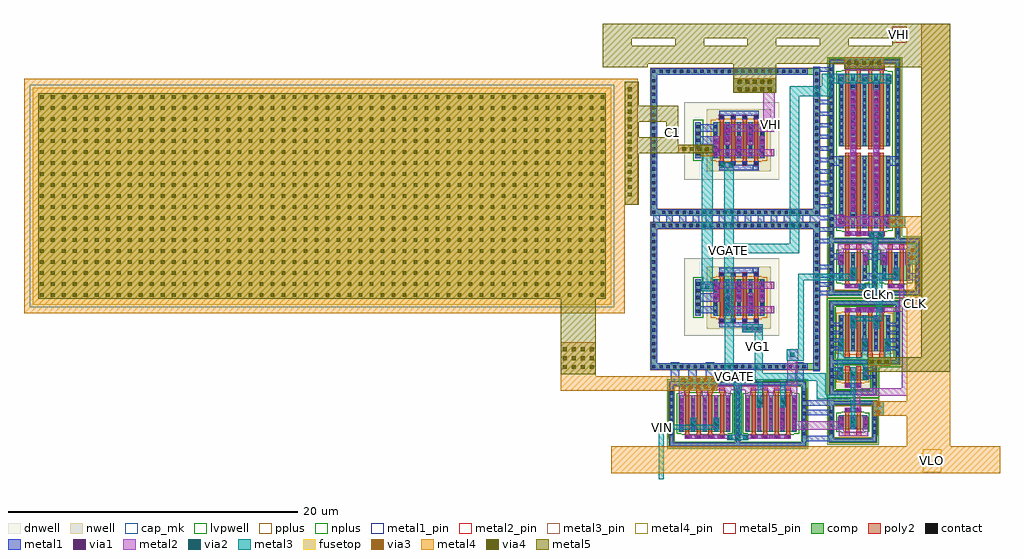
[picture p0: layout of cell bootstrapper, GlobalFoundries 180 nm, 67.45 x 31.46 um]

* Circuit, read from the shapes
.subckt bootstrapper C1 CLK CLKn VG1 VGATE VHI VIN VLO
XM1 VIN VGATE n1 VLO nfet_03v3 w=2.5u l=0.28u m=4
XM2 VG1 VGATE n1 VLO nfet_03v3 w=2.5u l=0.28u m=4
XM3 VG1 CLK n1 VLO nfet_03v3 w=1u l=0.28u m=2
XM4 n1 CLKn VLO VLO nfet_03v3 w=2u l=0.28u m=2
XM5 n2 CLKn VLO VLO nfet_03v3 w=5u l=0.28u m=2
XM6 n2 VHI VGATE VLO nfet_03v3 w=5u l=0.28u m=2
XM7 n3 CLKn VLO VLO nfet_03v3 w=5u l=0.28u m=2
XM8 n3 VHI VGATE VLO nfet_03v3 w=5u l=0.28u m=2
XM9 CLKn CLK VLO VLO nfet_03v3 w=2u l=0.28u m=2
XM10 VGATE VG1 C1 n4 pfet_03v3 w=2.5u l=0.28u m=4
XM11 VHI VGATE C1 n5 pfet_03v3 w=2.5u l=0.28u m=4
XM12 VG1 CLK VHI VHI pfet_03v3 w=0.5u l=0.28u m=2
XM13 CLKn CLK VHI VHI pfet_03v3 w=2.5u l=0.28u m=4
XC14 n1 C1 cap_mim_2f0fF c_width=40u c_length=15u
.ends

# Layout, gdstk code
import gdstk
lib = gdstk.Library(unit=1e-6, precision=1e-09)
def R(c, l, rs):  # rectangles x0, y0, x1, y1
    for r in rs: c.add(gdstk.rectangle(r[:2], r[2:], *l))
def A(c, l, x, y, w, h, nx, ny, dx, dy):  # array of equal rectangles
    R(c, l, [(x+i*dx, y+j*dy, x+i*dx+w, y+j*dy+h) for i in range(nx) for j in range(ny)])
dnwell = (12, 0)
nwell = (21, 0)
comp = (22, 0)
poly2 = (30, 0)
pplus = (31, 0)
nplus = (32, 0)
contact = (33, 0)
metal1 = (34, 0)
metal1_pin = (34, 10)
via1 = (35, 0)
metal2 = (36, 0)
metal2_pin = (36, 10)
via2 = (38, 0)
via3 = (40, 0)
via4 = (41, 0)
metal3 = (42, 0)
metal3_pin = (42, 10)
metal4 = (46, 0)
metal4_pin = (46, 10)
fusetop = (75, 0)
metal5 = (81, 0)
metal5_pin = (81, 10)
cap_mk = (117, 5)
lvpwell = (204, 0)

dnw_pfet = lib.new_cell('dnw_pfet')
R(dnw_pfet, dnwell, [(45.665,3.755,52.255,9.12)])
R(dnw_pfet, nwell, [(47.25,4.255,51.67,8.535)])
R(dnw_pfet, comp, [(43.35,1.4,55.05,1.85), (43.35,1.85,43.8,11.15), (54.6,1.85,55.05,11.15), (46.455,5.145,46.82,7.645), (47.68,5.145,51.24,7.645), (43.35,11.15,55.05,11.6)])
A(dnw_pfet, poly2, 48.08, 4.635, 0.36, 0.36, 4, 2, 0.8, 3.16)
A(dnw_pfet, poly2, 48.12, 4.995, 0.28, 2.8, 4, 1, 0.8, 0)
R(dnw_pfet, pplus, [(43.33,1.38,55.07,1.87), (43.33,1.87,43.82,11.13), (54.58,1.87,55.07,11.13), (47.89,4.915,51.03,4.985), (47.52,4.985,51.4,7.805), (47.89,7.805,51.03,7.875), (43.33,11.13,55.07,11.62)])
R(dnw_pfet, nplus, [(46.295,4.985,46.98,7.805)])
A(dnw_pfet, contact, 43.975, 1.515, 0.22, 0.22, 22, 1, 0.47, 0)
A(dnw_pfet, contact, 54.715, 1.68, 0.22, 0.22, 1, 20, 0, 0.47)
A(dnw_pfet, contact, 43.465, 2.16, 0.22, 0.22, 1, 19, 0, 0.47)
A(dnw_pfet, contact, 48.15, 4.705, 0.22, 0.22, 4, 2, 0.8, 3.16)
A(dnw_pfet, contact, 46.525, 5.345, 0.22, 0.22, 1, 5, 0, 0.47)
A(dnw_pfet, contact, 47.75, 5.345, 0.22, 0.22, 5, 5, 0.8, 0.47)
A(dnw_pfet, contact, 44.155, 11.265, 0.22, 0.22, 22, 1, 0.47, 0)
R(dnw_pfet, contact, [(43.465,1.515,43.685,1.735), (43.465,11.265,43.685,11.485), (54.715,11.265,54.935,11.485)])
A(dnw_pfet, metal1, 48.09, 4.7, 0.34, 0.23, 4, 2, 0.8, 3.16)
A(dnw_pfet, metal1, 47.745, 7.5, 0.23, 0.135, 3, 1, 1.6, 0)
R(dnw_pfet, metal1, [(54.6,1.3,55.05,11.15), (43.35,1.4,54.2,1.85), (43.35,1.85,43.8,11.15), (48.09,4.34,50.83,4.7), (46.455,5.145,46.82,5.3), (47.745,5.155,47.975,5.3), (48.545,5.155,48.775,5.3), (49.345,5.155,49.575,6.1), (50.145,5.155,50.375,5.3), (50.945,5.155,51.175,6.1), (46.455,5.3,47.975,5.8), (48.45,5.3,48.85,6.7), (50.05,5.3,50.45,6.7), (46.455,5.8,46.82,6.1), (47.745,5.8,47.975,6.1), (46.455,6.1,48.1,6.7), (49.25,6.1,49.65,7.5), (50.85,6.1,51.25,7.5), (46.455,6.7,46.82,7), (47.7,6.7,48.1,7), (48.545,6.7,48.775,7.635), (50.145,6.7,50.375,7.635), (46.455,7,48.1,7.5), (46.455,7.5,46.82,7.645), (48.09,8.09,50.83,8.455), (43.35,11.15,55.05,11.6)])
R(dnw_pfet, metal1_pin, [(54.6,1.3,55.05,1.4), (50.4,8.15,50.8,8.45)])
R(dnw_pfet, via1, [(48.52,5.61,48.78,5.87), (50.12,5.61,50.38,5.87), (48.52,6.13,48.78,6.39), (50.12,6.13,50.38,6.39), (47.77,6.41,48.03,6.67), (49.32,6.41,49.58,6.67), (50.92,6.41,51.18,6.67), (47.77,6.93,48.03,7.19), (49.32,6.93,49.58,7.19), (50.92,6.93,51.18,7.19)])
R(dnw_pfet, metal2, [(48.45,5.3,51.9,5.8), (48.45,5.8,48.85,6.7), (50.05,5.8,50.45,6.7), (47.7,6.1,48.1,7), (49.25,6.1,49.65,7), (50.85,6.1,51.25,7), (47.7,7,51.9,7.5)])
R(dnw_pfet, metal2_pin, [(51.7,5.3,51.9,5.8), (51.7,7,51.9,7.5)])
dnw_pfet.add(gdstk.Label('SDSUB', (51.8,7.25), layer=36, texttype=10))
dnw_pfet.add(gdstk.Label('SD', (51.8,5.55), layer=36, texttype=10))
dnw_pfet.add(gdstk.Label('G', (50.6,8.3), layer=34, texttype=10))
dnw_pfet.add(gdstk.Label('VLO', (54.825,1.35), layer=34, texttype=10))

bootstrapper = lib.new_cell('bootstrapper')
R(bootstrapper, nwell, [(16.5,-1.84,20.08,0.325), (16.5,0.325,21.68,5.05)])
A(bootstrapper, comp, 5.57, -4.885, 0.36, 3.83, 3, 1, 4.58, 0)
A(bootstrapper, comp, 16.62, 5.57, 0.36, 3.28, 3, 1, 2.98, 0)
R(bootstrapper, comp, [(5.57,-5.245,15.09,-4.885), (16.62,-4.95,19.96,-4.59), (16.62,-4.59,16.98,-2.36), (19.6,-4.59,19.96,-2.36), (6.26,-4.17,9.82,-1.67), (10.84,-4.17,14.4,-1.67), (17.31,-4.03,19.27,-3.03), (16.62,-2.36,19.96,-2), (16.62,-1.68,19.96,-1.32), (16.62,-1.32,16.98,0.445), (19.6,-1.32,19.96,0.445), (5.57,-1.055,15.09,-0.695), (17.31,-0.615,19.27,-0.115), (16.62,0.445,21.56,0.805), (16.62,0.805,16.98,4.53), (21.2,0.805,21.56,4.53), (17.31,1.365,20.87,3.865), (16.62,4.53,21.56,4.89), (16.62,5.21,22.94,5.57), (17.31,6.235,19.27,8.235), (20.29,6.235,22.25,8.235), (16.62,8.85,22.94,9.21), (16.62,9.21,16.98,21.23), (21.2,9.21,21.56,21.23), (17.31,9.875,20.87,14.875), (17.31,15.555,20.87,20.555), (16.62,21.23,21.56,21.59)])
A(bootstrapper, poly2, 6.66, -4.685, 0.36, 0.36, 4, 2, 0.8, 3.17)
A(bootstrapper, poly2, 11.24, -4.685, 0.36, 0.36, 4, 2, 0.8, 3.17)
A(bootstrapper, poly2, 6.7, -4.325, 0.28, 2.81, 4, 1, 0.8, 0)
A(bootstrapper, poly2, 11.28, -4.325, 0.28, 2.81, 4, 1, 0.8, 0)
A(bootstrapper, poly2, 17.71, 0.905, 0.36, 0.36, 4, 2, 0.8, 3.115)
A(bootstrapper, poly2, 17.75, 1.265, 0.28, 2.755, 4, 1, 0.8, 0)
A(bootstrapper, poly2, 17.71, 9.31, 0.36, 0.36, 4, 2, 0.8, 11.455)
A(bootstrapper, poly2, 17.75, 9.67, 0.28, 5.425, 4, 1, 0.8, 0)
A(bootstrapper, poly2, 17.75, 15.335, 0.28, 5.43, 4, 1, 0.8, 0)
R(bootstrapper, poly2, [(17.71,-4.49,18.07,-4.13), (18.51,-4.49,18.87,-4.13), (17.75,-4.13,18.03,-2.875), (18.55,-4.13,18.83,-2.875), (17.71,-2.875,18.07,-2.515), (18.51,-2.875,18.87,-2.515), (17.71,-1.13,18.07,-0.77), (18.51,-1.13,18.87,-0.77), (17.75,-0.77,18.03,-0.015), (18.55,-0.77,18.83,-0.015), (17.71,-0.015,18.07,0.345), (18.51,-0.015,18.87,0.345), (17.71,5.72,18.07,6.08), (18.51,5.72,18.87,6.08), (20.69,5.72,21.05,6.08), (21.49,5.72,21.85,6.08), (17.75,6.08,18.03,8.39), (18.55,6.08,18.83,8.39), (20.73,6.08,21.01,8.39), (21.53,6.08,21.81,8.39), (17.71,8.39,18.07,8.75), (18.51,8.39,18.87,8.75), (20.69,8.39,21.05,8.75), (21.49,8.39,21.85,8.75)])
R(bootstrapper, pplus, [(5.55,-5.265,15.11,-4.865), (16.6,-4.97,19.98,-4.57), (5.55,-4.865,5.96,-4.66), (10.12,-4.865,10.54,-1.075), (14.7,-4.865,15.11,-4.66), (5.54,-4.66,5.96,-1.18), (14.7,-4.66,15.12,-1.18), (16.6,-4.57,17.01,-4.465), (19.57,-4.57,19.98,-4.465), (16.59,-4.465,17.01,-2.43), (19.57,-4.465,19.99,-2.43), (16.46,-2.43,20.12,-1.84), (5.55,-1.18,5.96,-1.075), (14.7,-1.18,15.11,-1.075), (5.55,-1.075,15.11,-0.675), (17.52,-0.845,19.06,-0.775), (17.15,-0.775,19.43,0.045), (17.52,0.045,19.06,0.115), (17.52,1.135,20.66,1.205), (17.15,1.205,21.03,4.025), (17.52,4.025,20.66,4.095), (16.46,5.05,22.27,5.19), (16.46,5.19,22.96,5.64), (16.59,5.64,17.01,8.725), (19.57,5.64,19.99,8.83), (22.55,5.64,22.96,5.745), (22.55,5.745,22.97,8.725), (16.6,8.725,17.01,8.83), (22.55,8.725,22.96,8.83), (16.6,8.83,22.96,9.23), (16.6,9.23,17.01,9.335), (21.17,9.23,21.59,21.095), (16.59,9.335,17.01,21.095), (16.6,21.095,17.01,21.21), (21.17,21.095,21.58,21.21), (16.6,21.21,21.58,21.61)])
R(bootstrapper, nplus, [(6.47,-4.4,9.61,-4.33), (11.05,-4.4,14.19,-4.33), (6.1,-4.33,9.98,-1.51), (10.68,-4.33,14.56,-1.51), (17.52,-4.26,19.06,-4.19), (17.15,-4.19,19.43,-2.87), (17.52,-2.87,19.06,-2.8), (16.46,-1.84,20.12,-1.25), (6.47,-1.51,9.61,-1.44), (11.05,-1.51,14.19,-1.44), (16.46,-1.25,17.09,0.425), (19.49,-1.25,20.12,0.285), (19.49,0.285,21.72,0.425), (16.46,0.425,21.72,0.825), (16.46,0.825,17.09,4.46), (19.49,0.825,21.72,0.915), (21.09,0.915,21.72,4.46), (16.46,4.46,21.72,5.05), (17.52,6.005,19.06,6.075), (20.5,6.005,22.04,6.075), (17.15,6.075,19.43,8.395), (20.13,6.075,22.41,8.395), (17.52,8.395,19.06,8.465), (20.5,8.395,22.04,8.465), (17.52,9.645,20.66,9.715), (17.15,9.715,21.03,20.715), (17.52,20.715,20.66,20.785)])
A(bootstrapper, contact, 6.73, -4.615, 0.22, 0.22, 4, 1, 0.8, 0)
A(bootstrapper, contact, 11.31, -4.615, 0.22, 0.22, 4, 1, 0.8, 0)
A(bootstrapper, contact, 5.64, -4.44, 0.22, 0.22, 3, 2, 4.58, 2.82)
A(bootstrapper, contact, 16.69, -4.32, 0.22, 0.22, 1, 4, 0, 0.47)
A(bootstrapper, contact, 19.67, -4.32, 0.22, 0.22, 1, 4, 0, 0.47)
A(bootstrapper, contact, 5.64, -3.97, 0.22, 0.22, 1, 5, 0, 0.47)
A(bootstrapper, contact, 6.33, -3.97, 0.22, 0.22, 5, 5, 0.8, 0.47)
A(bootstrapper, contact, 10.22, -3.97, 0.22, 0.22, 1, 5, 0, 0.47)
A(bootstrapper, contact, 10.91, -3.97, 0.22, 0.22, 5, 5, 0.8, 0.47)
A(bootstrapper, contact, 14.8, -3.97, 0.22, 0.22, 1, 5, 0, 0.47)
A(bootstrapper, contact, 17.38, -3.875, 0.22, 0.22, 3, 2, 0.8, 0.47)
A(bootstrapper, contact, 16.69, -0.975, 0.22, 0.22, 1, 3, 0, 0.47)
A(bootstrapper, contact, 19.67, -0.975, 0.22, 0.22, 1, 3, 0, 0.47)
A(bootstrapper, contact, 17.38, -0.475, 0.22, 0.22, 3, 2, 0.8, 6.895)
A(bootstrapper, contact, 16.69, 1.12, 0.22, 0.22, 1, 7, 0, 0.47)
A(bootstrapper, contact, 21.27, 1.12, 0.22, 0.22, 1, 7, 0, 0.47)
A(bootstrapper, contact, 17.38, 1.565, 0.22, 0.22, 5, 5, 0.8, 0.47)
A(bootstrapper, contact, 17.78, 4.09, 0.22, 0.22, 4, 2, 0.8, 5.29)
A(bootstrapper, contact, 16.69, 5.95, 0.22, 0.22, 3, 2, 2.98, 2.35)
A(bootstrapper, contact, 16.69, 6.42, 0.22, 0.22, 1, 4, 0, 0.47)
A(bootstrapper, contact, 19.67, 6.42, 0.22, 0.22, 1, 4, 0, 0.47)
A(bootstrapper, contact, 20.36, 6.42, 0.22, 0.22, 3, 4, 0.8, 0.47)
A(bootstrapper, contact, 22.65, 6.42, 0.22, 0.22, 1, 4, 0, 0.47)
A(bootstrapper, contact, 17.38, 6.89, 0.22, 0.22, 3, 3, 0.8, 0.47)
A(bootstrapper, contact, 16.69, 9.465, 0.22, 0.22, 1, 25, 0, 0.47)
A(bootstrapper, contact, 21.27, 9.465, 0.22, 0.22, 1, 25, 0, 0.47)
A(bootstrapper, contact, 17.38, 10.15, 0.22, 0.22, 5, 10, 0.8, 0.47)
A(bootstrapper, contact, 17.38, 15.83, 0.22, 0.22, 5, 10, 0.8, 0.47)
A(bootstrapper, contact, 17.78, 20.835, 0.22, 0.22, 4, 1, 0.8, 0)
R(bootstrapper, contact, [(17.78,-2.805,18,-2.585), (18.58,-2.805,18.8,-2.585), (17.78,-1.06,18,-0.84), (18.58,-1.06,18.8,-0.84), (17.78,5.79,18,6.01), (18.58,5.79,18.8,6.01), (20.76,5.79,20.98,6.01), (21.56,5.79,21.78,6.01)])
A(bootstrapper, metal1, 6.325, -4.16, 0.23, 0.1, 5, 1, 0.8, 0)
A(bootstrapper, metal1, 10.905, -4.16, 0.23, 0.1, 5, 1, 0.8, 0)
A(bootstrapper, metal1, 6.3, -4.06, 0.28, 2.39, 5, 1, 0.8, 0)
A(bootstrapper, metal1, 10.88, -4.06, 0.28, 2.39, 5, 1, 0.8, 0)
A(bootstrapper, metal1, 17.375, 1.375, 0.23, 0.08, 3, 1, 1.6, 0)
A(bootstrapper, metal1, 16.685, 1.71, 0.23, 0.3, 1, 3, 0, 0.55)
A(bootstrapper, metal1, 21.265, 1.71, 0.23, 0.3, 1, 3, 0, 0.55)
A(bootstrapper, metal1, 4.5, 10.13, 0.45, 0.87, 12, 1, 0.9, 0)
A(bootstrapper, metal1, 15.77, 11.245, 1.145, 0.3, 1, 4, 0, 0.8)
A(bootstrapper, metal1, 16.685, 11.545, 0.23, 0.5, 1, 3, 0, 0.8)
A(bootstrapper, metal1, 15.77, 15.245, 1.145, 0.3, 1, 5, 0, 0.8)
A(bootstrapper, metal1, 16.685, 15.545, 0.23, 0.5, 1, 4, 0, 0.8)
A(bootstrapper, metal1, 17.375, 15.565, 0.23, 4.285, 3, 1, 1.6, 0)
A(bootstrapper, metal1, 17.25, 19.85, 0.4, 0.65, 3, 1, 1.65, 0)
A(bootstrapper, metal1, 17.375, 20.5, 0.23, 0.045, 3, 1, 1.6, 0)
R(bootstrapper, metal1, [(5.635,-5.18,15.025,-4.95), (5.635,-4.95,5.865,-0.99), (10.215,-4.95,10.445,-0.99), (14.795,-4.95,15.025,-4.85), (16.685,-4.885,19.895,-4.85), (14.795,-4.85,19.895,-4.655), (6.67,-4.67,9.41,-4.39), (11.25,-4.67,13.99,-4.39), (14.795,-4.655,16.915,-4.45), (19.665,-4.655,19.895,-3.08), (14.795,-4.45,15.025,-3.05), (16.685,-4.45,16.915,-3.05), (17.375,-4.02,17.605,-3.935), (18.175,-4.02,18.405,-3.985), (18.975,-4.02,19.205,-3.935), (18.1,-3.985,18.5,-3.085), (17.25,-3.935,17.65,-3.135), (18.95,-3.935,19.35,-3.135), (17.375,-3.135,17.605,-3.04), (18.975,-3.135,19.205,-3.04), (18.175,-3.085,18.405,-3.04), (19.665,-3.08,20.4,-2.295), (14.795,-3.05,16.915,-2.65), (17.72,-2.81,18.86,-2.525), (14.795,-2.65,15.025,-2.4), (16.685,-2.65,16.915,-2.4), (14.795,-2.4,16.915,-2.295), (14.795,-2.295,20.4,-2.08), (14.795,-2.08,19.895,-2.065), (14.795,-2.065,16.915,-2), (14.795,-2,15.025,-0.99), (16.685,-1.615,19.895,-1.385), (16.685,-1.385,16.915,-0.54), (19.665,-1.385,19.895,-0.54), (17.72,-1.155,18.86,-0.835), (6.9,-1.15,7.5,-0.99), (5.635,-0.99,15.025,-0.76), (5.7,-0.76,6.3,0.6), (6.9,-0.76,7.5,0.44), (8.1,-0.76,8.7,0.6), (14.3,-0.76,14.9,0.6), (17.375,-0.605,17.605,-0.595), (18.175,-0.605,18.405,-0.59), (18.975,-0.605,19.205,-0.595), (17.2,-0.595,17.605,-0.54), (18.95,-0.595,19.35,-0.54), (18.1,-0.59,18.5,0.26), (16.685,-0.54,17.605,-0.29), (18.95,-0.54,19.895,-0.29), (16.685,-0.29,16.915,0.01), (17.2,-0.29,17.605,0.01), (18.95,-0.29,19.35,0.01), (19.665,-0.29,19.895,0.01), (16.685,0.01,17.605,0.26), (18.95,0.01,19.895,0.255), (18.975,0.255,19.895,0.26), (16.685,0.26,16.915,0.51), (18.175,0.26,18.405,0.28), (18.975,0.26,19.205,0.28), (19.665,0.26,19.895,0.51), (16.685,0.51,21.495,0.74), (16.685,0.74,16.915,1.46), (21.265,0.74,21.495,1.46), (18.175,1.375,18.405,2.955), (19.775,1.375,20.005,2.955), (17.25,1.455,17.65,1.46), (18.9,1.455,19.3,2.255), (20.5,1.455,20.9,1.46), (16.685,1.46,17.65,1.71), (20.5,1.46,21.495,1.71), (17.25,1.71,17.65,2.01), (20.5,1.71,20.9,2.01), (16.685,2.01,17.65,2.255), (20.5,2.01,21.495,2.255), (16.685,2.255,17.605,2.26), (18.975,2.255,19.205,3.855), (20.575,2.255,21.495,2.26), (17.375,2.26,17.605,2.56), (20.575,2.26,20.805,2.56), (16.685,2.56,17.605,2.81), (20.575,2.56,21.495,2.81), (10.65,2.68,12.05,3.23), (17.375,2.81,17.605,3.11), (20.575,2.81,20.805,3.11), (18.1,2.955,18.5,3.755), (19.7,2.955,20.1,3.755), (16.685,3.11,17.605,3.36), (20.575,3.11,21.495,3.36), (16.685,3.36,16.915,4.595), (17.375,3.36,17.605,3.855), (20.575,3.36,20.805,3.855), (21.265,3.36,21.495,4.595), (18.175,3.755,18.405,3.855), (19.775,3.755,20.005,3.855), (17.72,4.085,20.46,4.365), (16.685,4.595,21.495,4.825), (15.85,5.245,16.8,5.275), (19.28,5.245,19.78,5.275), (15.85,5.275,22.875,5.505), (15.85,5.505,16.915,5.545), (19.28,5.505,19.895,5.545), (22.645,5.505,22.875,6.3), (16.685,5.545,16.915,5.845), (19.665,5.545,19.895,6.3), (17.72,5.735,18.86,6.015), (20.7,5.735,21.84,6.015), (15.83,5.845,16.915,6.145), (16.685,6.145,16.915,6.3), (17.375,6.245,17.605,6.3), (18.175,6.245,18.405,6.345), (18.975,6.245,19.205,6.3), (20.355,6.245,20.585,6.3), (21.155,6.245,21.385,6.345), (21.955,6.245,22.185,6.3), (16.685,6.3,17.605,6.445), (18.975,6.3,20.585,6.75), (21.955,6.3,22.875,6.75), (18.1,6.345,18.5,7.145), (21.08,6.345,21.48,7.145), (15.8,6.445,17.605,6.745), (16.685,6.745,17.605,6.75), (16.685,6.75,16.915,7.045), (17.375,6.75,17.605,7.345), (18.975,6.75,19.205,7.345), (19.665,6.75,19.895,7.7), (20.355,6.75,20.585,7.345), (21.955,6.75,22.185,7.345), (22.645,6.75,22.875,7.7), (15.8,7.045,16.915,7.345), (18.175,7.145,18.405,8.225), (21.155,7.145,21.385,8.225), (16.685,7.345,16.915,7.7), (17.25,7.345,17.65,7.7), (18.95,7.345,19.35,7.7), (20.23,7.345,20.63,7.7), (21.93,7.345,22.33,7.7), (16.685,7.7,17.65,8.145), (18.95,7.7,20.63,8.145), (21.93,7.7,22.875,8.145), (16.685,8.145,17.605,8.15), (18.975,8.145,20.585,8.15), (21.955,8.145,22.875,8.15), (16.685,8.15,16.915,8.845), (17.375,8.15,17.605,8.225), (18.975,8.15,19.205,8.225), (19.665,8.15,19.895,8.845), (20.355,8.15,20.585,8.225), (21.955,8.15,22.185,8.225), (22.645,8.15,22.875,8.915), (15.85,8.845,16.915,8.915), (19.28,8.845,19.895,8.915), (15.85,8.915,22.875,9.145), (16.685,9.145,16.915,9.645), (21.265,9.145,21.495,9.9), (17.72,9.375,20.46,9.655), (15.85,9.645,16.915,9.9), (17.375,9.885,17.605,9.9), (18.175,9.885,18.405,10.55), (18.975,9.885,19.205,10), (19.775,9.885,20.005,10.55), (20.575,9.885,20.805,9.9), (15.85,9.9,17.605,9.945), (20.575,9.9,21.495,10), (16.685,9.945,17.605,10), (16.685,10,17.7,10.445), (18.8,10,19.4,10.8), (20.5,10,21.495,10.8), (15.64,10.155,16,10.285), (15.3,10.285,16,10.445), (15.3,10.445,17.7,10.745), (18.1,10.55,18.5,20.05), (19.7,10.55,20.1,20.05), (15.3,10.745,16,10.9), (16.685,10.745,17.7,10.8), (16.685,10.8,16.915,11.245), (17.375,10.8,17.605,14.2), (18.975,10.8,19.205,14.865), (20.575,10.8,20.805,14.2), (21.265,10.8,21.495,14.2), (16.685,13.945,16.915,14.2), (9.15,14.05,10.05,14.45), (16.685,14.2,17.605,14.445), (20.575,14.2,21.495,14.85), (15.77,14.445,17.605,14.745), (16.685,14.745,17.605,14.85), (16.685,14.85,16.915,15.245), (17.375,14.85,17.605,14.865), (20.575,14.85,20.805,14.865), (21.265,14.85,21.495,21.295), (16.685,18.745,16.915,20.7), (18.175,20.05,18.405,20.545), (19.775,20.05,20.005,20.545), (15.7,20.7,16.915,21), (17.72,20.78,20.46,21.06), (16.685,21,16.915,21.295), (16.685,21.295,21.495,21.525)])
A(bootstrapper, via1, 6.87, -4.66, 0.26, 0.26, 5, 1, 0.52, 0)
A(bootstrapper, via1, 11.45, -4.66, 0.26, 0.26, 5, 1, 0.52, 0)
A(bootstrapper, via1, 6.31, -3.775, 0.26, 0.26, 5, 4, 0.8, 0.52)
A(bootstrapper, via1, 10.89, -3.775, 0.26, 0.26, 5, 4, 0.8, 0.52)
A(bootstrapper, via1, 10.7, 2.825, 0.26, 0.26, 3, 1, 0.52, 0)
A(bootstrapper, via1, 17.92, 4.095, 0.26, 0.26, 5, 2, 0.52, 5.29)
A(bootstrapper, via1, 17.27, 10.27, 0.26, 0.26, 3, 1, 1.7, 0)
A(bootstrapper, via1, 18.17, 11.22, 0.26, 0.26, 1, 16, 0, 0.52)
A(bootstrapper, via1, 19.77, 11.22, 0.26, 0.26, 1, 16, 0, 0.52)
A(bootstrapper, via1, 17.32, 20.045, 0.26, 0.26, 3, 1, 1.65, 0)
A(bootstrapper, via1, 17.92, 20.79, 0.26, 0.26, 5, 1, 0.52, 0)
R(bootstrapper, via1, [(17.32,-3.665,17.58,-3.405), (19.02,-3.665,19.28,-3.405), (18.17,-3.615,18.43,-3.355), (19.92,-2.97,20.18,-2.71), (17.895,-2.795,18.155,-2.535), (18.415,-2.795,18.675,-2.535), (19.92,-2.45,20.18,-2.19), (17.9,-1.145,18.16,-0.885), (18.42,-1.145,18.68,-0.885), (17.27,-0.3,17.53,-0.04), (19.02,-0.3,19.28,-0.04), (18.17,-0.295,18.43,-0.035), (17.32,1.73,17.58,1.99), (18.97,1.73,19.23,1.99), (20.57,1.73,20.83,1.99), (18.17,3.225,18.43,3.485), (19.77,3.225,20.03,3.485), (17.9,5.745,18.16,6.005), (18.42,5.745,18.68,6.005), (20.88,5.745,21.14,6.005), (21.4,5.745,21.66,6.005), (18.17,6.615,18.43,6.875), (21.15,6.615,21.41,6.875), (17.32,7.615,17.58,7.875), (19.02,7.615,19.28,7.875), (20.3,7.615,20.56,7.875), (22,7.615,22.26,7.875), (9.21,14.12,9.47,14.38), (9.73,14.12,9.99,14.38)])
A(bootstrapper, metal2, 6.3, -4.06, 0.28, 2.35, 3, 1, 1.6, 0)
A(bootstrapper, metal2, 17.1, 10.7, 0.6, 0.1, 3, 1, 1.7, 0)
A(bootstrapper, metal2, 17.25, 19.85, 0.4, 0.65, 3, 1, 1.65, 0)
R(bootstrapper, metal2, [(9.6,-4.76,11.05,-4.67), (6.67,-4.67,13.99,-4.39), (17.3,-4.485,19.35,-4.185), (17.3,-4.185,17.65,-4.06), (18.95,-4.185,19.35,-3.135), (7.05,-4.06,7.45,-3.21), (8.65,-4.06,9.05,-3.21), (10.88,-4.06,11.16,-1.71), (11.68,-4.06,11.96,-2.51), (12.48,-4.06,12.76,-1.71), (13.28,-4.06,13.56,-2.51), (14.08,-4.06,17.65,-3.46), (18.1,-3.885,18.5,-3.085), (14.08,-3.46,14.45,-1.71), (17.25,-3.46,17.65,-3.135), (7.1,-3.21,7.38,-1.67), (8.7,-3.21,8.98,-1.67), (19.7,-3.08,20.4,-2.08), (17.72,-2.805,18.86,-2.525), (18.3,-2.525,18.8,-1.69), (11.65,-2.51,12.05,-1.71), (13.25,-2.51,13.65,-1.71), (6.25,-1.71,6.65,-1.36), (7.85,-1.71,8.25,-1.36), (9.45,-1.71,9.85,-1.31), (10.83,-1.71,11.23,-1.31), (11.68,-1.71,11.96,-1.67), (12.43,-1.71,12.83,-1.31), (13.28,-1.71,13.56,-1.67), (14.03,-1.71,14.45,-1.31), (18.3,-1.69,22.05,-1.195), (6.25,-1.36,8.9,-1.31), (6.25,-1.31,14.45,-1.01), (18.3,-1.195,18.86,-1.155), (21.65,-1.195,22.05,4.105), (17.72,-1.155,18.86,-0.875), (6.3,-1.01,8.9,-0.86), (13.75,-1.01,14.45,0.73), (17.2,-0.595,17.6,0.305), (18.95,-0.595,19.35,0.305), (18.1,-0.59,18.5,0.26), (13.7,0.73,14.5,1.53), (17.25,1.455,17.65,2.255), (18.9,1.455,19.3,2.255), (20.5,1.455,20.9,2.255), (10.65,2.68,12.05,3.23), (18.1,2.955,18.5,3.755), (19.7,2.955,20.1,3.755), (9.45,4.035,9.8,5.335), (17.72,4.085,20.46,4.105), (17.72,4.105,22.05,4.365), (18.51,4.365,22.05,4.405), (21.49,4.405,22.05,4.41), (21.49,4.41,22.5,4.45), (21.49,4.45,23.25,4.9), (21.49,4.9,21.85,5.735), (7.8,5.53,8.65,6.03), (18.7,5.65,19.45,5.735), (17.72,5.735,19.45,6.015), (20.7,5.735,21.85,6.015), (18.7,6.015,19.45,6.05), (18.1,6.345,18.5,7.145), (21.08,6.345,21.48,7.145), (17.25,7.345,17.65,8.4), (18.95,7.345,19.35,8.4), (20.23,7.345,20.63,7.35), (21.93,7.345,22.33,7.35), (20.2,7.35,20.65,8.4), (21.9,7.35,22.33,7.4), (21.9,7.4,22.8,8.4), (17.25,8.4,22.8,8.8), (19.4,9.25,20.4,9.375), (17.72,9.375,20.46,9.655), (17.1,10,21.9,10.7), (18.1,11,18.5,19.45), (19.7,11,20.1,19.45), (9.15,14.05,10.05,14.45), (7.8,15.1,9.05,15.6), (12.5,16.85,12.8,17.05), (12.1,17.05,12.9,19.25), (10,19.25,13,20.25), (17.72,20.78,20.46,20.9), (17.7,20.9,20.46,21.06), (17.7,21.06,20.4,21.7)])
R(bootstrapper, metal2_pin, [(21.95,4.45,23.25,4.9)])
A(bootstrapper, via2, 9.675, -4.69, 0.26, 0.26, 3, 1, 0.52, 0)
A(bootstrapper, via2, 6.43, -1.19, 0.26, 0.26, 5, 1, 0.52, 0)
A(bootstrapper, via2, 10.33, 19.36, 0.26, 0.26, 5, 2, 0.52, 0.52)
A(bootstrapper, via2, 17.32, 20.045, 0.26, 0.26, 3, 1, 1.65, 0)
A(bootstrapper, via2, 17.88, 21.17, 0.26, 0.26, 5, 1, 0.52, 0)
R(bootstrapper, via2, [(7.12,-3.765,7.38,-3.505), (8.72,-3.765,8.98,-3.505), (18.17,-3.615,18.43,-3.355), (19.92,-2.97,20.18,-2.71), (19.92,-2.45,20.18,-2.19), (11.72,-2.24,11.98,-1.98), (13.32,-2.24,13.58,-1.98), (17.27,-0.535,17.53,-0.275), (19.02,-0.535,19.28,-0.275), (18.17,-0.295,18.43,-0.035), (17.27,-0.015,17.53,0.245), (19.02,-0.015,19.28,0.245), (13.97,1,14.23,1.26), (17.32,1.73,17.58,1.99), (18.97,1.73,19.23,1.99), (20.57,1.73,20.83,1.99), (10.96,2.825,11.22,3.085), (11.48,2.825,11.74,3.085), (18.17,3.225,18.43,3.485), (19.77,3.225,20.03,3.485), (9.495,4.295,9.755,4.555), (9.495,4.815,9.755,5.075), (8.095,5.65,8.355,5.91), (18.945,5.72,19.205,5.98), (18.17,6.615,18.43,6.875), (21.15,6.615,21.41,6.875), (22.27,7.71,22.53,7.97), (22.27,8.23,22.53,8.49), (19.51,9.32,19.77,9.58), (20.03,9.32,20.29,9.58), (20.96,10.22,21.22,10.48), (21.48,10.22,21.74,10.48), (9.21,14.12,9.47,14.38), (9.73,14.12,9.99,14.38), (8.095,15.22,8.355,15.48)])
A(bootstrapper, via3, 6.43, -1.25, 0.26, 0.26, 5, 2, 0.52, 0.52)
A(bootstrapper, via3, 19.45, 0.53, 0.26, 0.26, 3, 1, 0.52, 0)
A(bootstrapper, via3, 10.33, 19.36, 0.26, 0.26, 5, 2, 0.52, 0.52)
A(bootstrapper, via3, 17.88, 21.17, 0.26, 0.26, 5, 1, 0.52, 0)
R(bootstrapper, via3, [(19.92,-2.97,20.18,-2.71), (19.92,-2.45,20.18,-2.19), (22.27,7.71,22.53,7.97), (22.27,8.23,22.53,8.49), (20.96,10.22,21.22,10.48), (21.48,10.22,21.74,10.48), (8.07,15.12,8.33,15.38)])
A(bootstrapper, via4, -1.76, 0.15, 0.26, 0.26, 4, 3, 0.62, 0.62)
A(bootstrapper, via4, 19.45, 0.53, 0.26, 0.26, 3, 1, 0.52, 0)
A(bootstrapper, via4, -37.91, 5.13, 0.26, 0.26, 52, 19, 0.76, 0.76)
A(bootstrapper, via4, 2.74, 12.08, 0.26, 0.26, 1, 15, 0, 0.52)
A(bootstrapper, via4, 6.49, 15.22, 0.26, 0.26, 4, 1, 0.52, 0)
A(bootstrapper, via4, 10.33, 19.36, 0.26, 0.26, 5, 2, 0.52, 0.52)
A(bootstrapper, via4, 17.88, 21.17, 0.26, 0.26, 5, 1, 0.52, 0)
A(bootstrapper, metal3, 17.25, 19.85, 0.4, 0.05, 3, 1, 1.65, 0)
R(bootstrapper, metal3, [(4.85,-7.46,5.2,-4.06), (9.6,-4.76,11.05,-4.41), (10.05,-4.41,10.6,-0.61), (4.85,-4.06,9.05,-3.71), (18.1,-3.885,18.5,-3.085), (7.05,-3.71,7.45,-3.21), (8.65,-3.71,9.05,-3.21), (18.15,-3.085,18.45,-1.95), (19.7,-3.08,20.4,-2.08), (11.65,-2.51,12.05,-1.66), (13.25,-2.51,13.65,-1.66), (15.8,-1.95,18.45,-1.64), (11.7,-1.66,12.05,-0.66), (13.25,-1.66,13.6,-0.66), (15.8,-1.64,16.4,-0.66), (18.15,-1.64,18.45,-0.59), (6.3,-1.36,8.9,-0.36), (11.5,-0.66,16.4,-0.16), (9.425,-0.61,10.6,-0.06), (17.2,-0.595,17.6,0.555), (18.95,-0.595,19.35,0.36), (18.1,-0.59,18.5,0.26), (11.5,-0.16,12.05,2.68), (9.425,-0.06,10.05,3.83), (18.95,0.36,20.9,0.555), (17.2,0.555,20.9,0.955), (13.7,0.73,14.9,1.53), (17.25,0.955,17.65,2.255), (18.9,0.955,20.9,0.96), (18.9,0.96,19.3,2.255), (20.5,0.96,20.9,2.255), (14.5,1.53,14.9,6.3), (10.65,2.68,12.05,3.23), (18.1,2.955,18.5,3.455), (19.7,2.955,20.1,3.455), (18.1,3.455,20.3,3.755), (19.9,3.755,20.3,5.7), (9.4,3.83,10.05,8.155), (7.8,5.53,8.65,6.03), (18.7,5.65,19.45,5.7), (18.7,5.7,20.3,6.05), (7.85,6.03,8.6,14.85), (19.7,6.05,20.3,6.345), (14.5,6.3,18.5,6.745), (19.7,6.345,21.48,6.745), (18.1,6.745,18.5,7.145), (19.7,6.745,20.05,9.25), (21.08,6.745,21.48,7.145), (22,7.4,22.8,8.8), (9.4,8.155,14.575,8.805), (9.4,8.805,10.05,14.05), (13.925,8.805,14.575,19), (19.4,9.25,20.4,9.65), (20.8,10,21.9,10.7), (9.15,14.05,10.05,14.45), (7.8,14.85,8.6,15.1), (7.8,15.1,8.65,15.6), (7.8,15.6,8.6,15.65), (13.925,19,16.775,19.675), (10,19.25,13,20.25), (16.125,19.675,16.775,19.9), (16.125,19.9,20.95,20.5), (16.125,20.5,20.8,20.55), (17.7,20.9,20.4,21.7)])
R(bootstrapper, metal3_pin, [(4.9,-4.01,5.3,-3.76), (9.7,-0.56,10.5,-0.16), (19.95,5,20.25,5.55)])
R(bootstrapper, metal4, [(1.6,-7.05,28.45,-5.2), (22,-5.2,25,-3.08), (19.7,-3.08,25,-2.08), (22,-2.08,25,9.9), (-1.9,-1.36,8.9,-0.36), (-1.9,-0.36,0.5,2), (19.3,0.36,20.9,0.96), (-39,4,2.5,11.5), (20.8,9.9,25,10.7), (23,10.7,25,24), (-39,11.5,3.4,20.2), (7.8,14.85,8.6,15.05), (6.2,15.05,8.6,15.65), (10,19.25,13,20.25), (17.7,20.9,20.4,21.7)])
R(bootstrapper, metal4_pin, [(23.1,-7,24.4,-5.4)])
R(bootstrapper, fusetop, [(-38.4,4.6,1.6,19.6)])
A(bootstrapper, metal5, 1, 22.5, 2, 0.5, 4, 1, 5, 0)
R(bootstrapper, metal5, [(-1.9,-0.2,0.5,5), (19.3,-0.04,25.005,0.96), (23,0.96,25,21), (-38,5,1.2,19.2), (2.5,11.5,3.5,15.05), (2.5,15.05,8.6,15.65), (2.5,15.65,6.2,16.15), (2.5,16.15,3.5,17.25), (5.4,16.15,6.2,17.25), (2.5,17.25,6.2,18.35), (2.5,18.35,3.5,20), (10,19.25,13,21.25), (17.7,20.9,20.4,21), (1,21,4.1,21.25), (17.7,21,25,21.25), (1,21.25,25,22.5), (21,22.5,25,23), (1,23,25,24)])
R(bootstrapper, metal5_pin, [(21,22.7,22,23.8)])
R(bootstrapper, cap_mk, [(-38.6,4.4,1.8,19.8)])
R(bootstrapper, lvpwell, [(5.45,-5.365,15.21,-0.575), (16.5,-5.07,20.08,-1.88), (16.5,5.09,23.06,9.33), (16.5,9.33,21.68,21.71)])
bootstrapper.add(gdstk.Reference(dnw_pfet, (-39.05,-1.31)))
bootstrapper.add(gdstk.Reference(dnw_pfet, (-39.05,22.35), x_reflection=True))
bootstrapper.add(gdstk.Label('VHI', (12.65,17.05), layer=36, texttype=0))
bootstrapper.add(gdstk.Label('C1', (5.8,16.5), layer=81, texttype=0))
bootstrapper.add(gdstk.Label('VGATE', (9.7,8.33), layer=42, texttype=0))
bootstrapper.add(gdstk.Label('VG1', (11.775,1.705), layer=42, texttype=0))
bootstrapper.add(gdstk.Label('CLK', (22.6,4.675), layer=36, texttype=10))
bootstrapper.add(gdstk.Label('CLKn', (20.1,5.275), layer=42, texttype=10))
bootstrapper.add(gdstk.Label('VIN', (5.1,-3.885), layer=42, texttype=10))
bootstrapper.add(gdstk.Label('VLO', (23.75,-6.2), layer=46, texttype=10))
bootstrapper.add(gdstk.Label('VHI', (21.5,23.25), layer=81, texttype=10))
bootstrapper.add(gdstk.Label('VGATE', (10.1,-0.36), layer=42, texttype=10))

lib.write_gds('bootstrapper.gds')
